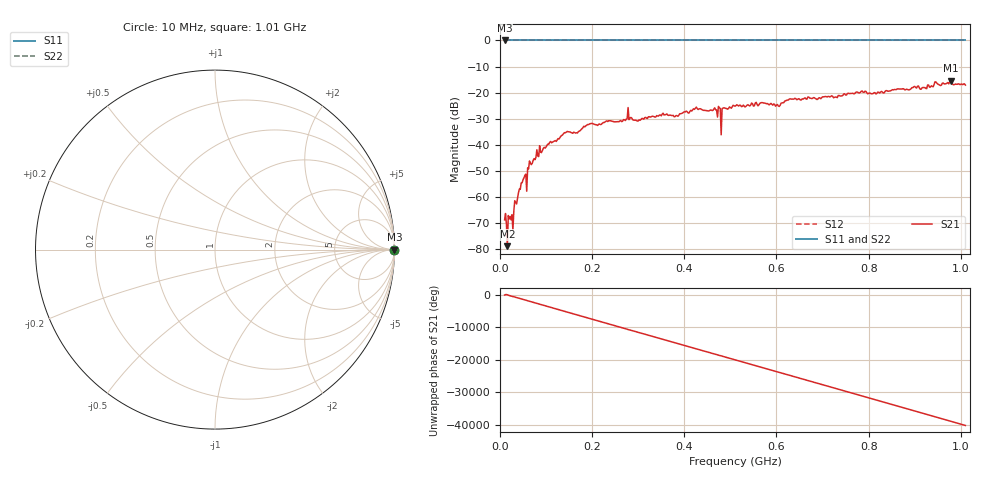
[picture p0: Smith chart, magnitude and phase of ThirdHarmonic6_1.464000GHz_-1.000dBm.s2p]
! 8/16/2025 5:02:22 PM
! C:\ANRITSUVNA\TEMP\TEMP.S2P
! CHANNEL.1
! TR.MEASUREMENT
! RAW.DATA
! RF.CORRECTION.OFF
! AVERAGING.OFF
! IF.BANDWIDTH: 5KHZ
! SWEEPTYPE:  FREQ.SWEEP(Linear)
! Reference Plane Port Info
! PORT:  PORT1  PORT2
! DISTANCE:  0  m  0  m
! TIME:  0  s  0  s
! PHASE.OFFSET:  0  deg.  0  deg.
! LOSS:  0  dB  0  dB
! REF.LOSS:  0  dB  0  dB
! REF.FREQ:  0  Hz  0  Hz
! Power Info
! POWER:  -20  dBm  -20  dBm
! EFF.POWER:  -20  dBm  -20  dBm
! SOURCE.ATTEN:  0  dB  0  dB
! TEST.ATTEN:  0  dB  0  dB
# GHZ S RI R 50.0
! FREQ.GHZ  S11RE  S11IM  S21RE  S21IM  S12RE  S12IM  S22RE  S22IM
!; PortSelection: Port_12
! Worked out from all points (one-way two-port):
!   501 points, 10 MHz to 1.01 GHz, reference 50 ohm
!   highest |S21| = -15.43 dB at 978 MHz (marker M1); lowest = -78.9 dB at 16 MHz (marker M2)
!   lowest |S11| = 0.0 dB at 10 MHz (marker M3)
!   |S11| at or under -10 dB: nowhere
!   |S22| runs from 0.0 to 0.0 dB; largest |S21 - S12| = 1.2
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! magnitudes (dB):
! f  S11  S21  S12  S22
! 10 MHz  0.0  -68.8  0.0  0.0
! 16 MHz  0.0  -78.9  0.0  0.0
! 26 MHz  0.0  -66.8  0.0  0.0
! 50 MHz  0.0  -53.4  0.0  0.0
! 82 MHz  0.0  -44.3  0.0  0.0
! 142 MHz  0.0  -35.4  0.0  0.0
! 178 MHz  0.0  -33.8  0.0  0.0
! 280 MHz  0.0  -30.3  0.0  0.0
! 296 MHz  0.0  -30.7  0.0  0.0
! 344 MHz  0.0  -29.0  0.0  0.0
! 382 MHz  0.0  -28.8  0.0  0.0
! 424 MHz  0.0  -26.0  0.0  0.0
! 474 MHz  0.0  -25.3  0.0  0.0
! 476 MHz  0.0  -25.9  0.0  0.0
! 484 MHz  0.0  -25.9  0.0  0.0
! 486 MHz  0.0  -25.8  0.0  0.0
! 510 MHz  0.0  -25.2  0.0  0.0
! 602 MHz  0.0  -24.5  0.0  0.0
! 678 MHz  0.0  -22.3  0.0  0.0
! 844 MHz  0.0  -19.4  0.0  0.0
! 978 MHz  0.0  -15.4  0.0  0.0
! 1.01 GHz  0.0  -17.1  0.0  0.0
